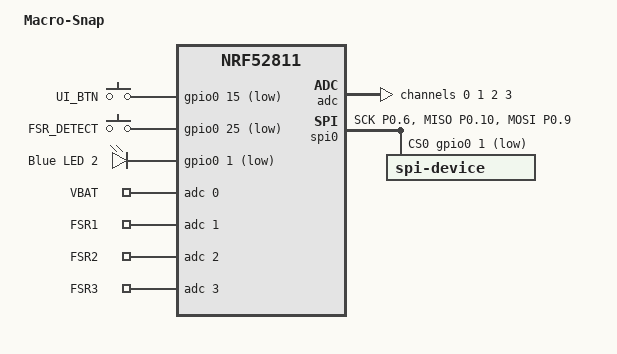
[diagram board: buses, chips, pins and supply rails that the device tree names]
// Copyright (c) 2022 Nordic Semiconductor ASA
// SPDX-License-Identifier: Apache-2.0

/dts-v1/;
#include <nordic/nrf52811_qfaa.dtsi>

/ {
	model = "Macro-Snap";
	compatible = "nordic-semiconductor,macro-snap";

	chosen {
		zephyr,console = &uart0;
		zephyr,sram = &sram0;
		zephyr,flash = &flash0;
		zephyr,code-partition = &slot0_partition;
		zephyr,uart-mcumgr = &uart0;
	};

	buttons {
		compatible = "gpio-keys";
		button0: button_0 {
			gpios = <&gpio0 15 (GPIO_PULL_UP | GPIO_ACTIVE_LOW)>;
			label = "UI_BTN";
		};
		button1: button_1 {
			gpios = <&gpio0 25 (GPIO_PULL_UP | GPIO_ACTIVE_LOW)>;
			label = "FSR_DETECT";
		};
	};
	// soc{
		// spi0: spi@40004000 {
		// 	compatible = "nordic,nrf-spim";
		// 	#address-cells = <1>;
		// 	#size-cells = <0>;
		// 	status = "okay";
		// 	cs-gpios = <&gpio0 1 GPIO_ACTIVE_LOW>;
		// 	pinctrl-0 = <&spi0_default>;
		// 	pinctrl-1 = <&spi0_sleep>;
		// 	pinctrl-names = "default", "sleep";
		// };
	// };
	leds {
		compatible = "gpio-leds";
		led1: led_1 {
			gpios = <&gpio0 1 (GPIO_ACTIVE_LOW)>;
			label = "Blue LED 2";
		};
	// 	led2: led_2 {
	// 		gpios = <&gpio0 12 (GPIO_ACTIVE_HIGH | GPIO_OPEN_DRAIN)>;
	// 		label = "Red LED 3";
	// 	};
	// 	led3: led_3 {
	// 		gpios = <&gpio0 14 GPIO_ACTIVE_HIGH>;
	// 		label = "Green LED 4";
	// 	};
	};

	// pwmleds {
	// 	compatible = "pwm-leds";
	// 	pwm_led0: pwm_led_0 {
	// 		pwms = <&pwm0 0 PWM_MSEC(8) PWM_POLARITY_NORMAL>;
	// 	};
	// };

	zephyr,user {
		io-channels = <&adc 0>, <&adc 1>, <&adc 2>, <&adc 3>;
		io-channel-names = "VBAT", "FSR1", "FSR2", "FSR3";
	};

	aliases {
		led1 = &led1;
		// led2 = &led2;
		// led3 = &led3;
		// pwm0 = &pwm_led0;
		uibtn = &button0;
		fsrdet = &button1;
		spizero = &spi0;
	};
};


&flash0 {
	partitions {
		compatible = "fixed-partitions";
		#address-cells = <1>;
		#size-cells = <1>;

		boot_partition: partition@0 {
			label = "mcuboot";
			reg = <0x0 0xc000>;
		};
		slot0_partition: partition@c000 {
			label = "image-0";
			reg = <0xc000 0xa000>;
		};
		slot1_partition: partition@16000 {
			label = "image-1";
			reg = <0x16000 0xa000>;
		};
		scratch_partition: partition@20000 {
			label = "image-scratch";
			reg = <0x20000 0xa000>;
		};
		storage_partition: partition@2a000 {
			label = "storage";
			reg = <0x2a000 0x6000>;
		};
	};
};

&pinctrl {
	// pwm0_default: pwm0_default {
	// 	group1 {
	// 		psels = <NRF_PSEL(PWM_OUT0, 0, 6)>;
	// 	};
	// };

	// pwm0_sleep: pwm0_sleep {
	// 	group1 {
	// 		psels = <NRF_PSEL(PWM_OUT0, 0, 6)>;
	// 		low-power-enable;
	// 	};
	// };
	spi0_default: spi0_default {
		group1 {
			psels = <NRF_PSEL(SPIM_SCK, 0, 6)>,
				<NRF_PSEL(SPIM_MISO, 0, 10)>,
				<NRF_PSEL(SPIM_MOSI, 0, 9)>;
		};
	};

	spi0_sleep: spi0_sleep {
		group1 {
			psels = <NRF_PSEL(SPIM_SCK, 0, 6)>,
				<NRF_PSEL(SPIM_MISO, 0, 10)>,
				<NRF_PSEL(SPIM_MOSI, 0, 9)>;
			low-power-enable;
		};
	};
};


&adc {	
	status = "okay";
	#address-cells = <1>;
	#size-cells = <0>;
	channel@0 {
		reg = <0>;
		zephyr,gain = "ADC_GAIN_1_4"; //1/4 works but needs to be mapped correctly
		zephyr,acquisition-time = <ADC_ACQ_TIME_DEFAULT>;
		zephyr,input-negative = <NRF_SAADC_AIN3>;
		zephyr,input-positive = <NRF_SAADC_VDD>;
		zephyr,reference = "ADC_REF_VDD_1_4"; //Need to use 1_4 for full range of VDD be used
		zephyr,resolution = <8>;
	};
	channel@1 {
		reg = <1>;
		zephyr,gain = "ADC_GAIN_1_4"; //1/4 works but needs to be mapped correctly
		zephyr,acquisition-time = < ADC_ACQ_TIME_DEFAULT>;
		zephyr,input-positive = <NRF_SAADC_AIN2>;
		zephyr,reference = "ADC_REF_VDD_1_4"; //Need to use 1_4 for full range of VDD be used
		zephyr,resolution = <8>;
	};
	channel@2 {
		reg = <2>;
		zephyr,gain = "ADC_GAIN_1_4"; //1/4 works but needs to be mapped correctly
		zephyr,acquisition-time = <ADC_ACQ_TIME_DEFAULT>;
		zephyr,input-positive = <NRF_SAADC_AIN4>;
		zephyr,reference = "ADC_REF_VDD_1_4"; //Need to use 1_4 for full range of VDD be used
		zephyr,resolution = <8>;
	};
	channel@3 {
		reg = <3>;
		zephyr,gain = "ADC_GAIN_1_4"; //1/4 works but needs to be mapped correctly
		zephyr,acquisition-time = <ADC_ACQ_TIME_DEFAULT>;
		zephyr,input-positive = <NRF_SAADC_AIN6>;
		zephyr,reference = "ADC_REF_VDD_1_4"; //Need to use 1_4 for full range of VDD be used
		zephyr,resolution = <8>;
	};
 };

// &pwm0 {
// 	status = "okay";
// 	pinctrl-0 = <&pwm0_default>;
// 	pinctrl-1 = <&pwm0_sleep>;
// 	pinctrl-names = "default", "sleep";
// };

&gpio0 {
	status = "okay";
	gpio-controller;
	#gpio-cells = <2>;
};

&spi0 {
  compatible = "nordic,nrf-spim";
  status = "okay";
  pinctrl-0 = <&spi0_default>;
  pinctrl-1 = <&spi0_sleep>;
  cs-gpios = <&gpio0 1 GPIO_ACTIVE_LOW>;
  pinctrl-names = "default", "sleep";
  spi-device@0 {
                  reg = <0>;
          };
};

